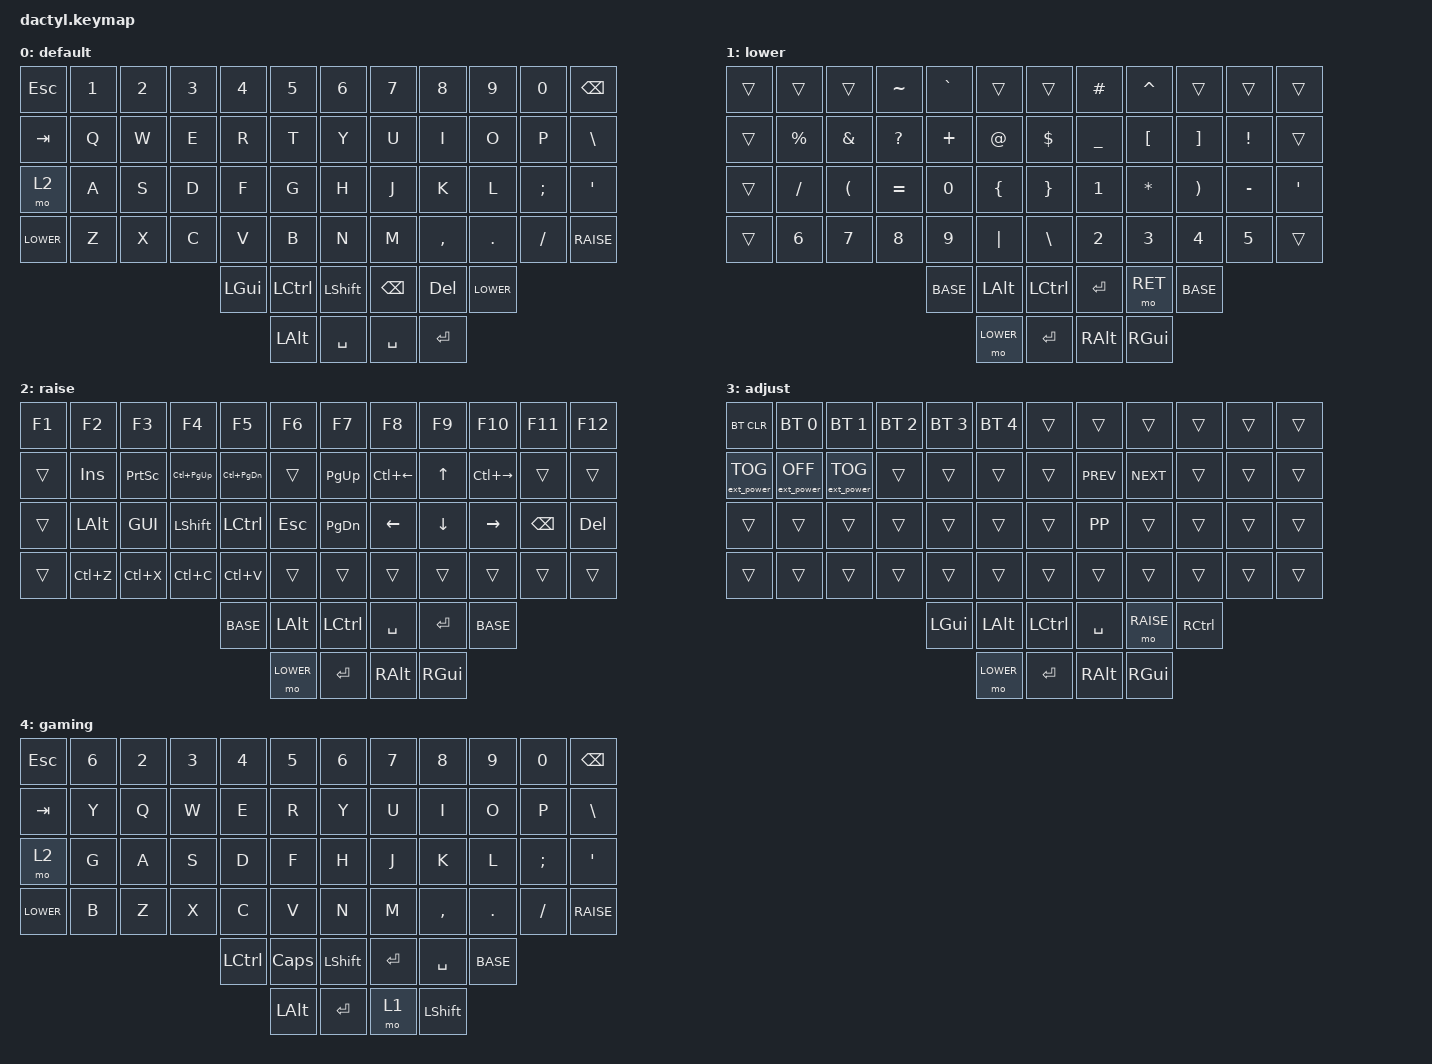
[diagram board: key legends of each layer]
/*
 * Copyright (c) 2020 The ZMK Contributors
 *
 * SPDX-License-Identifier: MIT
 */

#include <behaviors.dtsi>
#include <dt-bindings/zmk/keys.h>
#include <dt-bindings/zmk/bt.h>
#include <dt-bindings/zmk/rgb.h>
#include <dt-bindings/zmk/ext_power.h>

#define BASE 0
#define LOWER 1
#define RAISE 2
#define ADJUST 3
#define GAMING 4

/ {

   // Activate ADJUST layer by pressing raise and lower
    conditional_layers {
        compatible = "zmk,conditional-layers";
        adjust_layer {
            if-layers = <LOWER RAISE>;
            then-layer = <ADJUST>;
        };
    };

    keymap {
        compatible = "zmk,keymap";

        default_layer {
            display-name = "default";
// ------------------------------------------------------------------------------------------------------------
// |   `   |  1  |  2  |  3   |  4   |  5   |                   |  6   |  7    |  8    |  9   |   0   |       |
// |  ESC  |  Q  |  W  |  E   |  R   |  T   |                   |  Y   |  U    |  I    |  O   |   P   | BKSPC |
// |  TAB  |  A  |  S  |  D   |  F   |  G   |                   |  H   |  J    |  K    |  L   |   ;   |   '   |
// | SHIFT |  Z  |  X  |  C   |  V   |  B   |  MUTE  |  |       |  N   |  M    |  ,    |  .   |   /   | SHIFT |
//               | GUI | ALT  | CTRL | LOWER|  ENTER |  | SPACE | RAISE| CTRL  | ALT   | GUI  |
            bindings = <
&kp ESC     &kp N1     &kp N2  &kp N3    &kp N4    &kp N5  &kp N6     &kp N7           &kp N8        &kp N9          &kp N0             &kp BACKSPACE
&kp TAB     &kp Q      &kp W   &kp E     &kp R     &kp T   &kp Y      &kp U            &kp I         &kp O           &kp P              &kp BSLH
&mo 2       &kp A      &kp S   &kp D     &kp F     &kp G   &kp H      &kp J            &kp K         &kp L           &kp SEMI           &kp SQT
&kp LOWER   &kp Z      &kp X   &kp C     &kp V     &kp B   &kp N      &kp M            &kp COMMA     &kp DOT         &kp FSLH           &kp RAISE
                                       &kp LGUI &kp LCTRL &kp LSHIFT       &kp BACKSPACE  &kp DEL  &kp LOWER
                                                &kp LALT  &kp SPACE       &kp SPACE  &kp RET
            >;
        };

        lower_layer {
            display-name = "lower";
// TODO: Some binds are waiting for shifted keycode support.
// ------------------------------------------------------------------------------------------------------------
// |       |  F1 |  F2 |  F3  |  F4  |  F5  |                   |  F6  |  F7   |  F8   |  F9  |  F10  |  F11  |
// |   `   |  1  |  2  |  3   |  4   |  5   |                   |  6   |  7    |  8    |  9   |   0   |  F12  |
// |       |  !  |  @  |  #   |  $   |  %   |                   |  ^   |  &    |  *    |  (   |   )   |   |   |
// |       |  =  |  -  |  +   |  {   |  }   |        |  |       |  [   |  ]    |  ;    |  :   |   \   |       |
//               |     |      |      |      |        |  |       |      |       |       |      |
            bindings = <
&trans  &trans     &trans    &kp TILDE  &kp GRAVE  &trans                       &trans         &kp HASH   &kp CARET    &trans    &trans         &trans
&trans  &kp PRCNT  &kp AMPS  &kp QMARK  &kp PLUS   &kp AT                       &kp DLLR       &kp UNDER  &kp LBKT     &kp RBKT  &kp EXCL       &trans
&trans  &kp FSLH   &kp LPAR  &kp EQUAL  &kp N0     &kp LBRC                     &kp RBRC       &kp N1     &kp STAR     &kp RPAR  &kp MINUS      &kp SQT
&trans  &kp N6     &kp N7    &kp N8     &kp N9     &kp PIPE                     &kp BACKSLASH  &kp N2     &kp N3       &kp N4    &kp N5         &trans
                                       &kp BASE &kp LALT &kp LCTRL    &kp RET  &mo RET  &kp BASE
                                                &mo LOWER  &kp RET    &kp RALT  &kp RGUI
            >;

        };

        raise_layer {
            display-name = "raise";
// ------------------------------------------------------------------------------------------------------------
// | BTCLR | BT1  | BT2  |  BT3  |  BT4  |  BT5 |                |      |      |       |      |       |       |
// |       | INS  | PSCR | GUI   |       |      |                | PGUP |      |   ^   |      |       |       |
// |       | ALT  | CTRL | SHIFT |       | CAPS |                | PGDN |   <- |   v   |  ->  |  DEL  | BKSPC |
// |       | UNDO | CUT  | COPY  | PASTE |      |      |  |      |      |      |       |      |       |       |
//                |      |       |       |      |      |  |      |      |      |       |      |
            bindings = <
&kp F1  &kp F2     &kp F3     &kp F4         &kp F5         &kp F6   &kp F7     &kp F8              &kp F9     &kp F10              &kp F11    &kp F12
&trans  &kp INS    &kp PSCRN  &kp LC(PG_UP)  &kp LC(PG_DN)  &trans   &kp PG_UP  &kp LC(LEFT_ARROW)  &kp UP     &kp LC(RIGHT_ARROW)  &trans     &trans
&trans  &kp LALT   &kp GUI    &kp LSHFT      &kp LCTRL      &kp ESC  &kp PG_DN  &kp LEFT            &kp DOWN   &kp RIGHT            &kp BSPC   &kp DEL
&trans  &kp LC(Z)  &kp LC(X)  &kp LC(C)      &kp LC(V)      &trans   &trans     &trans              &trans     &trans               &trans     &trans
                                       &kp BASE &kp LALT &kp LCTRL    &kp SPACE  &kp RET  &kp BASE
                                                &mo LOWER  &kp RET    &kp RALT  &kp RGUI
            >;

        };

        adjust_layer {
// ----------------------------------------------------------------------------------------------------------------------------
// | BTCLR  |  BT1    |  BT2    |   BT3   |   BT4   |   BT5   |                  |      |      |       |      |       |       |
// | EXTPWR | RGB_HUD | RGB_HUI | RGB_SAD | RGB_SAI | RGB_EFF |                  |      |      |       |      |       |       |
// |        | RGB_BRD | RGB_BRI |         |         |         |                  |      |      |       |      |       |       |
// |        |         |         |         |         |         | RGB_TOG | |      |      |      |       |      |       |       |
//                    |         |         |         |         |         | |      |      |      |       |      |
            display-name = "adjust";
            bindings = <
&bt BT_CLR         &bt BT_SEL 0       &bt BT_SEL 1       &bt BT_SEL 2  &bt BT_SEL 3  &bt BT_SEL 4  &trans  &trans      &trans              &trans  &trans         &trans
&ext_power EP_TOG  &ext_power EP_OFF  &ext_power EP_TOG  &trans        &trans        &trans        &trans  &kp K_PREV  &kp K_NEXT          &trans  &trans         &trans
&trans             &trans             &trans             &trans        &trans        &trans        &trans  &kp K_PP    &trans              &trans  &trans         &trans
&trans             &trans             &trans             &trans        &trans        &trans        &trans  &trans      &trans              &trans  &trans         &trans
                                       &kp LGUI &kp LALT &kp LCTRL    &kp SPACE  &mo RAISE  &kp RCTRL
                                                &mo LOWER  &kp RET    &kp RALT  &kp RGUI
            >;
        };

        gaming_layer {
            display-name = "gaming";
// ------------------------------------------------------------------------------------------------------------
// |   `   |  1  |  2  |  3   |  4   |  5   |                   |  6   |  7    |  8    |  9   |   0   |       |
// |  ESC  |  Q  |  W  |  E   |  R   |  T   |                   |  Y   |  U    |  I    |  O   |   P   | BKSPC |
// |  TAB  |  A  |  S  |  D   |  F   |  G   |                   |  H   |  J    |  K    |  L   |   ;   |   '   |
// | SHIFT |  Z  |  X  |  C   |  V   |  B   |  MUTE  |  |       |  N   |  M    |  ,    |  .   |   /   | SHIFT |
//               | GUI | ALT  | CTRL | LOWER|  ENTER |  | SPACE | RAISE| CTRL  | ALT   | GUI  |
            bindings = <
&kp ESC     &kp N6     &kp N2  &kp N3    &kp N4    &kp N5  &kp N6     &kp N7           &kp N8        &kp N9          &kp N0             &kp BACKSPACE
&kp TAB     &kp Y      &kp Q   &kp W     &kp E     &kp R   &kp Y      &kp U            &kp I         &kp O           &kp P              &kp BSLH
&mo 2       &kp G      &kp A   &kp S     &kp D     &kp F   &kp H      &kp J            &kp K         &kp L           &kp SEMI           &kp SQT
&kp LOWER   &kp B      &kp Z   &kp X     &kp C     &kp V   &kp N      &kp M            &kp COMMA     &kp DOT         &kp FSLH           &kp RAISE
                                       &kp LCTRL &kp CAPS &kp LSHIFT       &kp RET  &kp SPACE  &kp BASE
                                                &kp LALT  &kp RET    &mo 1  &kp LSHIFT
            >;
        };


    };
    
};
